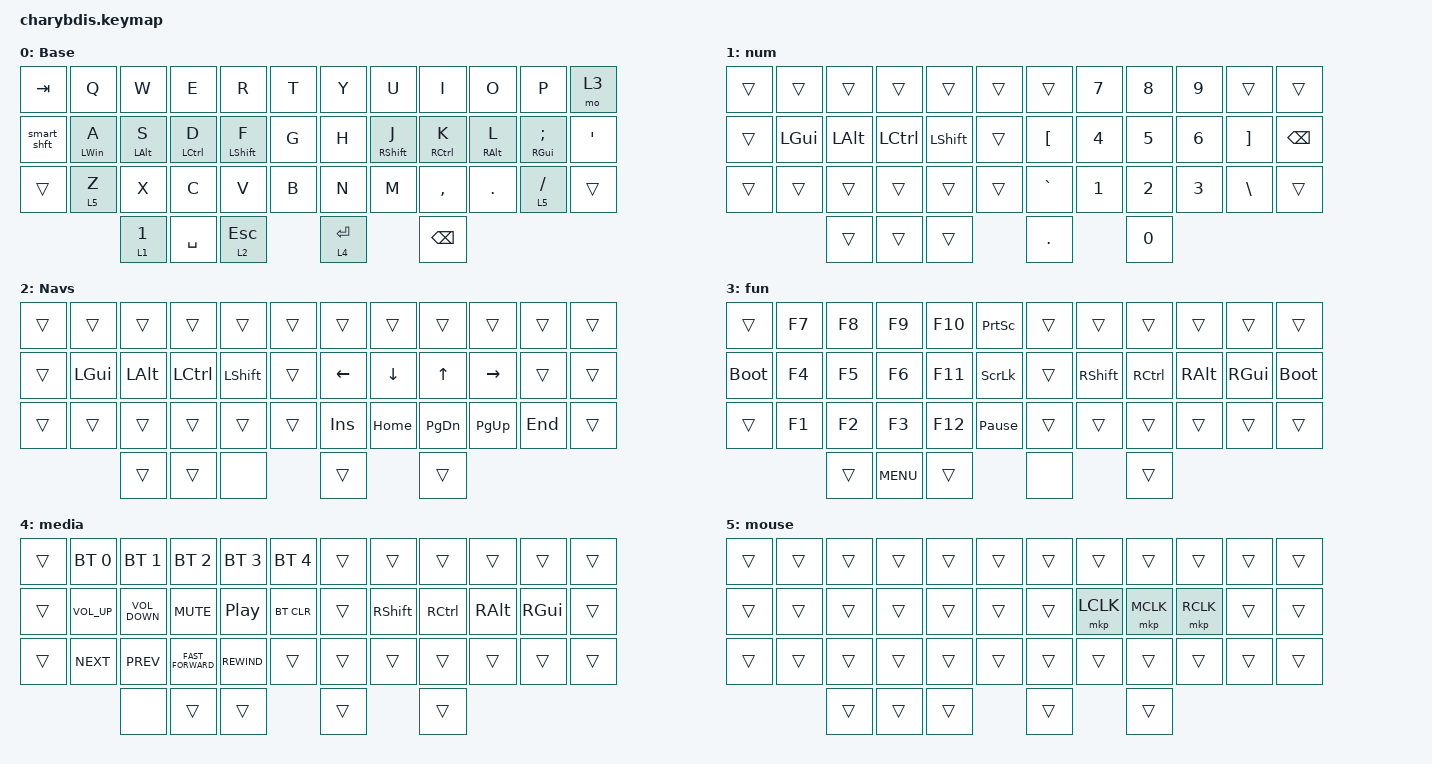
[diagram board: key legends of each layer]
#include <behaviors/mouse_keys.dtsi>
#include <behaviors/num_word.dtsi>
#include <dt-bindings/zmk/mouse.h>
#include <behaviors.dtsi>
#include <dt-bindings/zmk/bt.h>
#include <dt-bindings/zmk/keys.h>

&sk {
    quick-release;
    release-after-ms = <900>;
};

/ {
    behaviors {
        hrm_l: hrm_l {
            compatible = "zmk,behavior-hold-tap";
            label = "HRM_L";
            bindings = <&kp>, <&kp>;

            #binding-cells = <2>;
            tapping-term-ms = <280>;
            quick-tap-ms = <150>;
            require-prior-idle-ms = <150>;
            flavor = "balanced";
            hold-trigger-on-release;
            hold-trigger-key-positions = <6 7 8 9 10 18 19 20 21 22 23 6 7 8 9 10 18 19 20 21 22 23 30 31 32 33 34 23 36 37 38 39 40>;
        };

        hrm_r: hrm_r {
            compatible = "zmk,behavior-hold-tap";
            label = "HRM_R";
            bindings = <&kp>, <&kp>;

            #binding-cells = <2>;
            tapping-term-ms = <280>;
            quick-tap-ms = <150>;
            require-prior-idle-ms = <150>;
            flavor = "balanced";
            hold-trigger-on-release;
            hold-trigger-key-positions = <1 2 3 4 5 13 14 15 16 17 25 26 27 28 29 36 37 38 39 40>;
        };

        layer_tap_l: layer_tap_l {
            compatible = "zmk,behavior-hold-tap";
            label = "LAYER_TAP_L";
            bindings = <&mo>, <&kp>;

            #binding-cells = <2>;
            tapping-term-ms = <280>;
            quick-tap-ms = <175>;
            require-prior-idle-ms = <125>;
            flavor = "balanced";
            hold-trigger-on-release;
            hold-trigger-key-positions = <1 2 4 5 6 7 9 10 13 14 15 16 17 18 19 20 21 22 26 27 28 29 30 31 32 33 34 8 3 39 40>;
        };

        layer_tap_r: layer_tap_r {
            compatible = "zmk,behavior-hold-tap";
            label = "LAYER_TAP_R";
            bindings = <&mo>, <&kp>;

            #binding-cells = <2>;
            tapping-term-ms = <280>;
            quick-tap-ms = <175>;
            require-prior-idle-ms = <125>;
            flavor = "balanced";
            hold-trigger-on-release;
            hold-trigger-key-positions = <1 2 4 5 6 7 9 10 13 14 15 16 17 18 19 20 21 22 25 26 27 28 29 30 31 32 33 34 8 3 36 37 38>;
        };

        morph_lpar_lt: morph_lpar_lt {
            compatible = "zmk,behavior-mod-morph";
            label = "MORPH_LPAR_LT";
            bindings = <&kp LEFT_PARENTHESIS>, <&kp LESS_THAN>;

            #binding-cells = <0>;
            mods = <(MOD_LSFT|MOD_RSFT)>;
        };

        morph_rpar_gt: morph_rpar_gt {
            compatible = "zmk,behavior-mod-morph";
            label = "MORPH_RPAR_GT";
            bindings = <&kp RIGHT_PARENTHESIS>, <&kp GREATER_THAN>;

            #binding-cells = <0>;
            mods = <(MOD_LSFT|MOD_RSFT)>;
        };

        smart_shft: smart_shft {
            compatible = "zmk,behavior-mod-morph";
            label = "SMART_SHFT";
            bindings = <&sk LSHFT>, <&caps_word>;

            #binding-cells = <0>;
            mods = <(MOD_LSFT|MOD_RSFT)>;
        };

        smart_layers: smart_layers {
            compatible = "zmk,behavior-hold-tap";
            label = "SMART_LAYERS";
            bindings = <&mo>, <&sl>;

            #binding-cells = <2>;
            tapping-term-ms = <280>;
            quick-tap-ms = <175>;
            require-prior-idle-ms = <175>;
            flavor = "balanced";
            hold-trigger-key-positions = <1 2 4 5 6 7 9 10 13 14 15 16 17 18 19 20 21 22 25 26 27 28 29 30 31 32 33 34 8 3>;
            hold-trigger-on-release;
        };

        num_dance: num_dance {
            compatible = "zmk,behavior-tap-dance";
            label = "NUM_DANCE";
            #binding-cells = <0>;
            tapping-term-ms = <250>;
            bindings = <&num_word 1>, <&sl 1>;
        };

        smart_num: smart_num {
            compatible = "zmk,behavior-hold-tap";
            label = "SMART_NUM";
            bindings = <&mo>, <&num_dance>;

            #binding-cells = <2>;
            tapping-term-ms = <280>;
            quick-tap-ms = <175>;
            require-prior-idle-ms = <125>;
            flavor = "balanced";
        };

        hold_release_lclk: hold_release_lclk {
            compatible = "zmk,behavior-tap-dance";
            label = "HOLD_RELEASE_LCLK";
            #binding-cells = <0>;
            bindings = <&hold_lclk>, <&release_lclk>;
        };

        hold_release_mclk: hold_release_mclk {
            compatible = "zmk,behavior-tap-dance";
            label = "HOLD_RELEASE_MCLK";
            #binding-cells = <0>;
            bindings = <&hold_mclk>, <&release_mclk>;
        };

        hold_release_rclk: hold_release_rclk {
            compatible = "zmk,behavior-tap-dance";
            label = "HOLD_RELEASE_RCLK";
            #binding-cells = <0>;
            bindings = <&hold_rclk>, <&release_rclk>;
        };

        morph_comma_apos: morph_comma_apos {
            compatible = "zmk,behavior-mod-morph";
            label = "MORPH_COMMA_APOS";
            bindings = <&kp COMMA>, <&kp SINGLE_QUOTE>;

            #binding-cells = <0>;
            mods = <(MOD_LSFT|MOD_RSFT)>;
        };

        morph_period_quote: morph_period_quote {
            compatible = "zmk,behavior-mod-morph";
            label = "MORPH_PERIOD_QUOTE";
            bindings = <&kp PERIOD>, <&kp DOUBLE_QUOTES>;

            #binding-cells = <0>;
            mods = <(MOD_LSFT|MOD_RSFT)>;
        };

        morph_bs_del: morph_bs_del {
            compatible = "zmk,behavior-mod-morph";
            label = "MORPH_BS_DEL";
            bindings = <&kp BACKSPACE>, <&kp DEL>;

            #binding-cells = <0>;
            mods = <(MOD_LSFT|MOD_RSFT)>;
        };

        thm_l: thm_l {
            compatible = "zmk,behavior-hold-tap";
            label = "THM_L";
            bindings = <&kp>, <&kp>;

            #binding-cells = <2>;
            tapping-term-ms = <280>;
            quick-tap-ms = <150>;
            require-prior-idle-ms = <150>;
            flavor = "balanced";
            hold-trigger-on-release;
            hold-trigger-key-positions = <6 7 8 9 10 18 19 20 21 22 23 6 7 8 9 10 18 19 20 21 22 23 30 31 32 33 34 23 1 2 3 4 5 13 14 15 16 17 25 26 27 28 29>;
        };
    };

    combos {
        compatible = "zmk,combos";

        combo_lpar {
            bindings = <&morph_lpar_lt>;
            key-positions = <19 20>;
            timeout-ms = <70>;
            layers = <0>;
            require-prior-idle-ms = <0>;
            slow-release;
        };

        combo_rpar {
            bindings = <&morph_rpar_gt>;
            key-positions = <20 21>;
            timeout-ms = <70>;
            layers = <0>;
            require-prior-idle-ms = <0>;
            slow-release;
        };

        combo_lbkt {
            bindings = <&kp LEFT_BRACKET>;
            key-positions = <7 8>;
            timeout-ms = <70>;
            layers = <0>;
            require-prior-idle-ms = <0>;
        };

        combo_rbkt {
            bindings = <&kp RIGHT_BRACKET>;
            key-positions = <8 9>;
            timeout-ms = <70>;
            layers = <0>;
            require-prior-idle-ms = <0>;
        };

        combo_underscore {
            bindings = <&kp UNDERSCORE>;
            key-positions = <30 31>;
            timeout-ms = <70>;
            require-prior-idle-ms = <0>;
            layers = <0>;
        };

        combo_eql {
            bindings = <&kp EQUAL>;
            key-positions = <18 30>;
            timeout-ms = <70>;
            require-prior-idle-ms = <0>;
            layers = <0>;
        };

        combo_plus {
            bindings = <&kp PLUS>;
            key-positions = <19 31>;
            timeout-ms = <70>;
            require-prior-idle-ms = <0>;
            slow-release;
            layers = <0>;
        };

        combo_minus {
            bindings = <&kp MINUS>;
            key-positions = <20 32>;
            timeout-ms = <70>;
            require-prior-idle-ms = <0>;
            slow-release;
            layers = <0>;
        };

        combo_ast {
            bindings = <&kp ASTERISK>;
            key-positions = <21 33>;
            timeout-ms = <70>;
            require-prior-idle-ms = <0>;
            layers = <0>;
        };

        combo_lbrc {
            bindings = <&kp LEFT_BRACE>;
            key-positions = <31 32>;
            timeout-ms = <70>;
            require-prior-idle-ms = <0>;
            layers = <0>;
        };

        combo_rbrc {
            bindings = <&kp RIGHT_BRACE>;
            key-positions = <32 33>;
            timeout-ms = <70>;
            require-prior-idle-ms = <0>;
            layers = <0>;
        };
    };

    macros {
        hold_lclk: hold_mkp {
            compatible = "zmk,behavior-macro";
            #binding-cells = <0>;
            bindings = <&macro_press>, <&mkp LCLK>;

            label = "HOLD_MKP";
            wait-ms = <0>;
        };

        hold_rclk: hold_rclk {
            compatible = "zmk,behavior-macro";
            #binding-cells = <0>;
            bindings = <&macro_press>, <&mkp RCLK>;

            label = "HOLD_RCLK";
        };

        hold_mclk: hold_mclk {
            compatible = "zmk,behavior-macro";
            #binding-cells = <0>;
            bindings = <&macro_press>, <&mkp MCLK>;

            label = "HOLD_MCLK";
        };

        release_lclk: release_lclk {
            compatible = "zmk,behavior-macro";
            #binding-cells = <0>;
            bindings = <&macro_release>, <&mkp LCLK>;

            label = "RELEASE_LCLK";
        };

        release_mclk: release_mclk {
            compatible = "zmk,behavior-macro";
            #binding-cells = <0>;
            bindings = <&macro_release>, <&mkp MCLK>;

            label = "RELEASE_MCLK";
        };

        release_rclk: release_rclk {
            compatible = "zmk,behavior-macro";
            #binding-cells = <0>;
            bindings = <&macro_release>, <&mkp RCLK>;

            label = "RELEASE_RCLK";
        };

        release_test: release_test {
            compatible = "zmk,behavior-macro";
            #binding-cells = <0>;
            bindings = <&macro_release>;
            label = "RELEASE_TEST";
        };
    };

    keymap {
        compatible = "zmk,keymap";

        Base {
            label = "Base";
            bindings = <
&kp TAB         &kp Q              &kp W              &kp E            &kp R           &kp T                    &kp Y      &kp U            &kp I           &kp O               &kp P                       &mo 3
&smart_shft     &hrm_l LEFT_WIN A  &hrm_l LEFT_ALT S  &hrm_l LCTRL D   &hrm_l LSHIFT F &kp G                    &kp H      &hrm_r RSHIFT J  &hrm_r RCTRL K  &hrm_r RIGHT_ALT L  &hrm_r RIGHT_GUI SEMICOLON  &kp APOS
&trans          &layer_tap_l 5 Z   &kp X              &kp C            &kp V           &kp B                    &kp N      &kp M            &kp COMMA       &kp PERIOD          &layer_tap_r 5 SLASH        &trans
                                   &smart_num 1 1     &kp SPACE        &layer_tap_l 2 ESCAPE                    &layer_tap_r 4 ENTER  &kp BACKSPACE
            >;
        };

        Num {
            bindings = <
&trans  &trans    &trans    &trans      &trans     &trans    &trans      &kp N7  &kp N8  &kp N9  &trans         &trans
&trans  &kp LGUI  &kp LALT  &kp LCTRL   &kp LSHIFT &trans    &kp LBKT    &kp N4  &kp N5  &kp N6  &kp RBKT       &kp BACKSPACE
&trans  &trans    &trans    &trans      &trans     &trans    &kp GRAVE   &kp N1  &kp N2  &kp N3  &kp BACKSLASH  &trans
                            &trans      &trans     &trans    &kp PERIOD  &kp N0
            >;

            label = "num";
        };

        Navs {
            label = "Navs";
            bindings = <
&trans  &trans    &trans    &trans      &trans     &trans    &trans        &trans    &trans         &trans       &trans     &trans
&trans  &kp LGUI  &kp LALT  &kp LCTRL   &kp LSHIFT &trans    &kp LEFT      &kp DOWN  &kp UP       	&kp RIGHT    &trans     &trans
&trans  &trans    &trans    &trans      &trans     &trans    &kp INSERT    &kp HOME  &kp PAGE_DOWN  &kp PAGE_UP  &kp END    &trans
                            &trans      &trans     &none     &trans        &trans
            >;
        };

        Fun {
            bindings = <
&trans       &kp F7  &kp F8  &kp F9  &kp F10     &kp PRINTSCREEN    &trans  &trans     &trans     &trans    &trans    &trans
&bootloader  &kp F4  &kp F5  &kp F6  &kp F11     &kp SCROLLLOCK     &trans  &kp RSHIFT &kp RCTRL  &kp RALT  &kp RGUI  &bootloader
&trans       &kp F1  &kp F2  &kp F3  &kp F12     &kp PAUSE_BREAK    &trans  &trans     &trans     &trans    &trans    &trans
                             &trans  &kp C_MENU  &trans             &none   &trans
            >;

            label = "fun";
        };

        Media {
            bindings = <
&trans  &bt BT_SEL 0     &bt BT_SEL 1       &bt BT_SEL 2        &bt BT_SEL 3      &bt BT_SEL 4    &trans  &trans     &trans      &trans    &trans    &trans
&trans  &kp C_VOLUME_UP  &kp C_VOLUME_DOWN  &kp C_MUTE          &kp C_PLAY_PAUSE  &bt BT_CLR      &trans  &kp RSHIFT &kp RCTRL   &kp RALT  &kp RGUI  &trans
&trans  &kp C_NEXT       &kp C_PREV         &kp C_FAST_FORWARD  &kp C_REWIND      &trans          &trans  &trans     &trans      &trans    &trans    &trans
                                            &none               &trans            &trans          &trans  &trans
            >;

            label = "media";
        };

        Mouse {
            bindings = <
&trans  &trans  &trans  &trans  &trans  &trans    &trans  &trans     &trans     &trans     &trans  &trans
&trans  &trans  &trans  &trans  &trans  &trans    &trans  &mkp LCLK  &mkp MCLK  &mkp RCLK  &trans  &trans
&trans  &trans  &trans  &trans  &trans  &trans    &trans  &trans     &trans     &trans     &trans  &trans
                        &trans  &trans  &trans    &trans  &trans
            >;

            label = "mouse";
        };
    };
};
